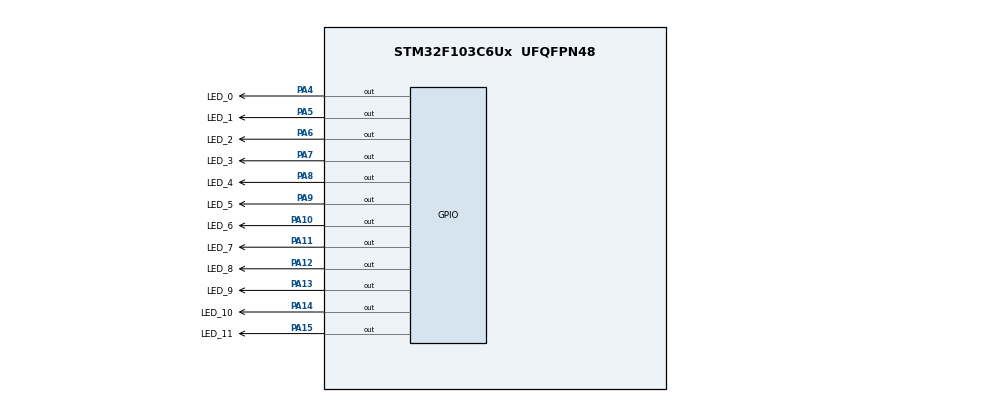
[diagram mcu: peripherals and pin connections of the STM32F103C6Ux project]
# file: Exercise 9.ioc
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Mcu.Family=STM32F1
Mcu.Name=STM32F103C6Ux
Mcu.Package=UFQFPN48
NVIC.PriorityGroup=NVIC_PRIORITYGROUP_4
PA10.GPIO_Label=LED_6
PA10.Signal=GPIO_Output
PA11.GPIO_Label=LED_7
PA11.Signal=GPIO_Output
PA12.GPIO_Label=LED_8
PA12.Signal=GPIO_Output
PA13.GPIO_Label=LED_9
PA13.Signal=GPIO_Output
PA14.GPIO_Label=LED_10
PA14.Signal=GPIO_Output
PA15.GPIO_Label=LED_11
PA15.Signal=GPIO_Output
PA4.GPIO_Label=LED_0
PA4.Signal=GPIO_Output
PA5.GPIO_Label=LED_1
PA5.Signal=GPIO_Output
PA6.GPIO_Label=LED_2
PA6.Signal=GPIO_Output
PA7.GPIO_Label=LED_3
PA7.Signal=GPIO_Output
PA8.GPIO_Label=LED_4
PA8.Signal=GPIO_Output
PA9.GPIO_Label=LED_5
PA9.Signal=GPIO_Output
ProjectManager.HeapSize=0x200
ProjectManager.StackSize=0x400
ProjectManager.TargetToolchain=STM32CubeIDE
RCC.APB1Freq_Value=8000000
RCC.APB2Freq_Value=8000000
VP_SYS_VS_ND.Mode=No_Debug
board=custom

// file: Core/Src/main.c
/* USER CODE BEGIN Header */
/**
  ******************************************************************************
  * @file           : main.c
  * @brief          : Main program body
  ******************************************************************************
  * @attention
  *
  * <h2><center>&copy; Copyright (c) 2022 STMicroelectronics.
  * All rights reserved.</center></h2>
  *
  * This software component is licensed by ST under BSD 3-Clause license,
  * the "License"; You may not use this file except in compliance with the
  * License. You may obtain a copy of the License at:
  *                        opensource.org/licenses/BSD-3-Clause
  *
  ******************************************************************************
  */
/* USER CODE END Header */
#include "main.h"

void SystemClock_Config(void);
static void MX_GPIO_Init(void);

/* USER CODE BEGIN 0 */

void clearAllClock (){ // This function gets from Exercise 7 for testing
	HAL_GPIO_WritePin(LED_0_GPIO_Port, LED_0_Pin, GPIO_PIN_SET);
	HAL_GPIO_WritePin(LED_1_GPIO_Port, LED_1_Pin, GPIO_PIN_SET);
	HAL_GPIO_WritePin(LED_2_GPIO_Port, LED_2_Pin, GPIO_PIN_SET);
	HAL_GPIO_WritePin(LED_3_GPIO_Port, LED_3_Pin, GPIO_PIN_SET);
	HAL_GPIO_WritePin(LED_4_GPIO_Port, LED_4_Pin, GPIO_PIN_SET);
	HAL_GPIO_WritePin(LED_5_GPIO_Port, LED_5_Pin, GPIO_PIN_SET);
	HAL_GPIO_WritePin(LED_6_GPIO_Port, LED_6_Pin, GPIO_PIN_SET);
	HAL_GPIO_WritePin(LED_7_GPIO_Port, LED_7_Pin, GPIO_PIN_SET);
	HAL_GPIO_WritePin(LED_8_GPIO_Port, LED_8_Pin, GPIO_PIN_SET);
	HAL_GPIO_WritePin(LED_9_GPIO_Port, LED_9_Pin, GPIO_PIN_SET);
	HAL_GPIO_WritePin(LED_10_GPIO_Port, LED_10_Pin, GPIO_PIN_SET);
	HAL_GPIO_WritePin(LED_11_GPIO_Port, LED_11_Pin, GPIO_PIN_SET);
}

void setNumberOnClock(int num){
	switch(num){
	case 0 :{
				HAL_GPIO_WritePin(LED_0_GPIO_Port, LED_0_Pin, GPIO_PIN_RESET);
				break;
			}
			case 1 :{
				HAL_GPIO_WritePin(LED_1_GPIO_Port, LED_1_Pin, GPIO_PIN_RESET);
				break;
			}
			case 2 :{
				HAL_GPIO_WritePin(LED_2_GPIO_Port, LED_2_Pin, GPIO_PIN_RESET);
				break;
			}
			case 3 :{
				HAL_GPIO_WritePin(LED_3_GPIO_Port, LED_3_Pin, GPIO_PIN_RESET);
				break;
			}
			case 4 :{
				HAL_GPIO_WritePin(LED_4_GPIO_Port, LED_4_Pin, GPIO_PIN_RESET);
				break;
			}
			case 5 :{
				HAL_GPIO_WritePin(LED_5_GPIO_Port, LED_5_Pin, GPIO_PIN_RESET);
				break;
			}
			case 6 :{
				HAL_GPIO_WritePin(LED_6_GPIO_Port, LED_6_Pin, GPIO_PIN_RESET);
				break;
			}
			case 7 :{
				HAL_GPIO_WritePin(LED_7_GPIO_Port, LED_7_Pin, GPIO_PIN_RESET);
				break;
			}
			case 8 :{
				HAL_GPIO_WritePin(LED_8_GPIO_Port, LED_8_Pin, GPIO_PIN_RESET);
				break;
			}
			case 9 :{
				HAL_GPIO_WritePin(LED_9_GPIO_Port, LED_9_Pin, GPIO_PIN_RESET);
				break;
			}
			case 10 :{
				HAL_GPIO_WritePin(LED_10_GPIO_Port, LED_10_Pin, GPIO_PIN_RESET);
				break;
			}
			case 11 :{
				HAL_GPIO_WritePin(LED_11_GPIO_Port, LED_11_Pin, GPIO_PIN_RESET);
				break;
			}
	}
}

void clearNumberOnClock(int num){
	switch(num){
			case 0 :{
				HAL_GPIO_WritePin(LED_0_GPIO_Port, LED_0_Pin, GPIO_PIN_SET);
				break;
			}
			case 1 :{
				HAL_GPIO_WritePin(LED_1_GPIO_Port, LED_1_Pin, GPIO_PIN_SET);
				break;
			}
			case 2 :{
				HAL_GPIO_WritePin(LED_2_GPIO_Port, LED_2_Pin, GPIO_PIN_SET);
				break;
			}
			case 3 :{
				HAL_GPIO_WritePin(LED_3_GPIO_Port, LED_3_Pin, GPIO_PIN_SET);
				break;
			}
			case 4 :{
				HAL_GPIO_WritePin(LED_4_GPIO_Port, LED_4_Pin, GPIO_PIN_SET);
				break;
			}
			case 5 :{
				HAL_GPIO_WritePin(LED_5_GPIO_Port, LED_5_Pin, GPIO_PIN_SET);
				break;
			}
			case 6 :{
				HAL_GPIO_WritePin(LED_6_GPIO_Port, LED_6_Pin, GPIO_PIN_SET);
				break;
			}
			case 7 :{
				HAL_GPIO_WritePin(LED_7_GPIO_Port, LED_7_Pin, GPIO_PIN_SET);
				break;
			}
			case 8 :{
				HAL_GPIO_WritePin(LED_8_GPIO_Port, LED_8_Pin, GPIO_PIN_SET);
				break;
			}
			case 9 :{
				HAL_GPIO_WritePin(LED_9_GPIO_Port, LED_9_Pin, GPIO_PIN_SET);
				break;
			}
			case 10 :{
				HAL_GPIO_WritePin(LED_10_GPIO_Port, LED_10_Pin, GPIO_PIN_SET);
				break;
			}
			case 11 :{
				HAL_GPIO_WritePin(LED_11_GPIO_Port, LED_11_Pin, GPIO_PIN_SET);
				break;
			}
	}
}

/* USER CODE END 0 */

int main(void)
{

  /* MCU Configuration--------------------------------------------------------*/

  /* Reset of all peripherals, Initializes the Flash interface and the Systick. */
  HAL_Init();

  /* Configure the system clock */
  SystemClock_Config();

  /* Initialize all configured peripherals */
  MX_GPIO_Init();
  /* USER CODE BEGIN 2 */

  // A simple program for test
  // Begin program
  int counter = 0;
  clearAllClock();

  /* USER CODE END 2 */

  /* Infinite loop */
  /* USER CODE BEGIN WHILE */
  while (1)
  {

	  if (counter >= 24) {
		  counter = 0;
		  //clearAllClock();
	  }
	  if (counter <= 11 ) {
		  setNumberOnClock(counter);
		  counter ++;
	  }
	  else {
		  clearNumberOnClock(23 - counter);
		  counter++;
	  }
	  HAL_Delay(1000);
	// End program

    /* USER CODE END WHILE */

  }
}

void SystemClock_Config(void)
{
  RCC_OscInitTypeDef RCC_OscInitStruct = {0};
  RCC_ClkInitTypeDef RCC_ClkInitStruct = {0};

  /** Initializes the RCC Oscillators according to the specified parameters
  * in the RCC_OscInitTypeDef structure.
  */
  RCC_OscInitStruct.OscillatorType = RCC_OSCILLATORTYPE_HSI;
  RCC_OscInitStruct.HSIState = RCC_HSI_ON;
  RCC_OscInitStruct.HSICalibrationValue = RCC_HSICALIBRATION_DEFAULT;
  RCC_OscInitStruct.PLL.PLLState = RCC_PLL_NONE;
  if (HAL_RCC_OscConfig(&RCC_OscInitStruct) != HAL_OK)
  {
    Error_Handler();
  }
  /** Initializes the CPU, AHB and APB buses clocks
  */
  RCC_ClkInitStruct.ClockType = RCC_CLOCKTYPE_HCLK|RCC_CLOCKTYPE_SYSCLK
                              |RCC_CLOCKTYPE_PCLK1|RCC_CLOCKTYPE_PCLK2;
  RCC_ClkInitStruct.SYSCLKSource = RCC_SYSCLKSOURCE_HSI;
  RCC_ClkInitStruct.AHBCLKDivider = RCC_SYSCLK_DIV1;
  RCC_ClkInitStruct.APB1CLKDivider = RCC_HCLK_DIV1;
  RCC_ClkInitStruct.APB2CLKDivider = RCC_HCLK_DIV1;

  if (HAL_RCC_ClockConfig(&RCC_ClkInitStruct, FLASH_LATENCY_0) != HAL_OK)
  {
    Error_Handler();
  }
}

static void MX_GPIO_Init(void)
{
  GPIO_InitTypeDef GPIO_InitStruct = {0};

  /* GPIO Ports Clock Enable */
  __HAL_RCC_GPIOA_CLK_ENABLE();

  /*Configure GPIO pin Output Level */
  HAL_GPIO_WritePin(GPIOA, LED_0_Pin|LED_1_Pin|LED_2_Pin|LED_3_Pin
                          |LED_4_Pin|LED_5_Pin|LED_6_Pin|LED_7_Pin
                          |LED_8_Pin|LED_9_Pin|LED_10_Pin|LED_11_Pin, GPIO_PIN_RESET);

  /*Configure GPIO pins : LED_0_Pin LED_1_Pin LED_2_Pin LED_3_Pin
                           LED_4_Pin LED_5_Pin LED_6_Pin LED_7_Pin
                           LED_8_Pin LED_9_Pin LED_10_Pin LED_11_Pin */
  GPIO_InitStruct.Pin = LED_0_Pin|LED_1_Pin|LED_2_Pin|LED_3_Pin
                          |LED_4_Pin|LED_5_Pin|LED_6_Pin|LED_7_Pin
                          |LED_8_Pin|LED_9_Pin|LED_10_Pin|LED_11_Pin;
  GPIO_InitStruct.Mode = GPIO_MODE_OUTPUT_PP;
  GPIO_InitStruct.Pull = GPIO_NOPULL;
  GPIO_InitStruct.Speed = GPIO_SPEED_FREQ_LOW;
  HAL_GPIO_Init(GPIOA, &GPIO_InitStruct);

}

void Error_Handler(void)
{
  __disable_irq();
  while (1)
  {
  }
}

/************************ (C) COPYRIGHT STMicroelectronics *****END OF FILE****/
